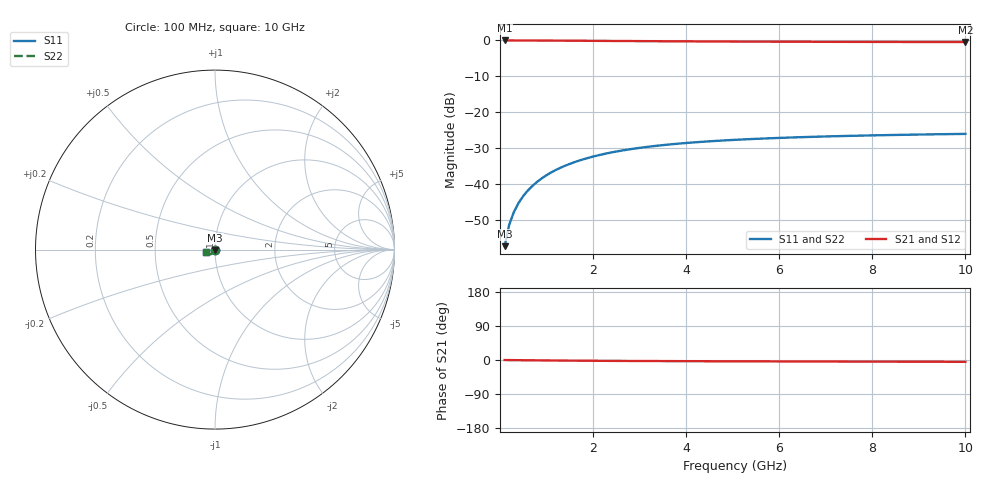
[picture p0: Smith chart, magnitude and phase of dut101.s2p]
! Touchstone file exported from HFSS 2024.1.0
!  File:  C:/UserFiles/LocalFiles/RDL_TSV_Batchsim/temp_TSV1_101_1779377042.aedt
!  Generated:  11:29:43 PM May 21, 2026
!  Design:  TSV1
!  Project:  temp_TSV1_101_1779377042
!  Setup:  Setup1
!  Solution:  Sweep
! Variables:
!  dtsv = 11.97um
!  hbump = 3um
!  htsv = 74.04um
!  lrdl = 252.1521522um
!  p = 40
!  p1 = 46.87um
!  t = 500um
!  trdl = 3um
!  wrdl = 24.89489489um
# GHz S MA R 50.000000
! Terminal data exported
! Port[1] = TSV22_T1
! Port[2] = TSV22_T2
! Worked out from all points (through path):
!   100 points, 100 MHz to 10 GHz, reference 50 ohm
!   highest |S21| = 0.00 dB at 100 MHz (marker M1); lowest = -0.4 dB at 10 GHz (marker M2)
!   lowest |S11| = -57.2 dB at 100 MHz (marker M3), VSWR 1.00, Z = 50 - j0.138 ohm
!   |S11| at or under -10 dB: start of sweep to end of sweep
!   |S22| runs from -57.2 to -26.0 dB; largest |S21 - S12| = 5.3e-15
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0.1  0.001378 -87.6  0.9999 -0.1  0.9999 -0.1  0.001378 -87.6
! Gamma 0 0 0 0
! Port Impedance 50 0 50 0
0.2  0.002752 -91.1  0.9997 -0.2  0.9997 -0.2  0.002752 -91.1
0.3  0.004126 -93.3  0.9995 -0.4  0.9995 -0.4  0.004126 -93.3
0.4  0.005495 -95.2  0.9992 -0.5  0.9992 -0.5  0.005495 -95.2
0.5  0.006854 -97.1  0.9989 -0.6  0.9989 -0.6  0.006854 -97.1
0.6  0.008199 -98.8  0.9984 -0.7  0.9984 -0.7  0.008199 -98.8
0.7  0.009526 -100.5  0.9979 -0.8  0.9979 -0.8  0.009526 -100.5
0.8  0.01083 -102.2  0.9974 -0.9  0.9974 -0.9  0.01083 -102.2
0.9  0.01211 -103.9  0.9968 -1.0  0.9968 -1.0  0.01211 -103.9
1.1  0.0146 -107.0  0.9954 -1.3  0.9954 -1.3  0.0146 -107.0
1.4  0.01811 -111.5  0.9931 -1.5  0.9931 -1.5  0.01811 -111.5
1.6  0.02029 -114.4  0.9914 -1.7  0.9914 -1.7  0.02029 -114.4
1.8  0.02235 -117.1  0.9896 -1.9  0.9896 -1.9  0.02235 -117.1
2.1  0.02518 -121.0  0.9869 -2.1  0.9869 -2.1  0.02518 -121.0
2.5  0.02853 -125.6  0.9833 -2.4  0.9833 -2.4  0.02853 -125.6
2.9  0.03142 -129.9  0.9798 -2.6  0.9798 -2.6  0.03142 -129.9
3.4  0.03449 -134.6  0.9758 -2.8  0.9758 -2.8  0.03449 -134.6
4.2  0.03837 -140.9  0.9702 -3.1  0.9702 -3.1  0.03837 -140.9
5.1  0.04165 -146.8  0.9651 -3.4  0.9651 -3.4  0.04165 -146.8
6.7  0.04566 -155.0  0.9585 -3.9  0.9585 -3.9  0.04566 -155.0
8.4  0.04841 -161.6  0.9537 -4.4  0.9537 -4.4  0.04841 -161.6
10  0.0502 -166.6  0.9505 -4.8  0.9505 -4.8  0.0502 -166.6
